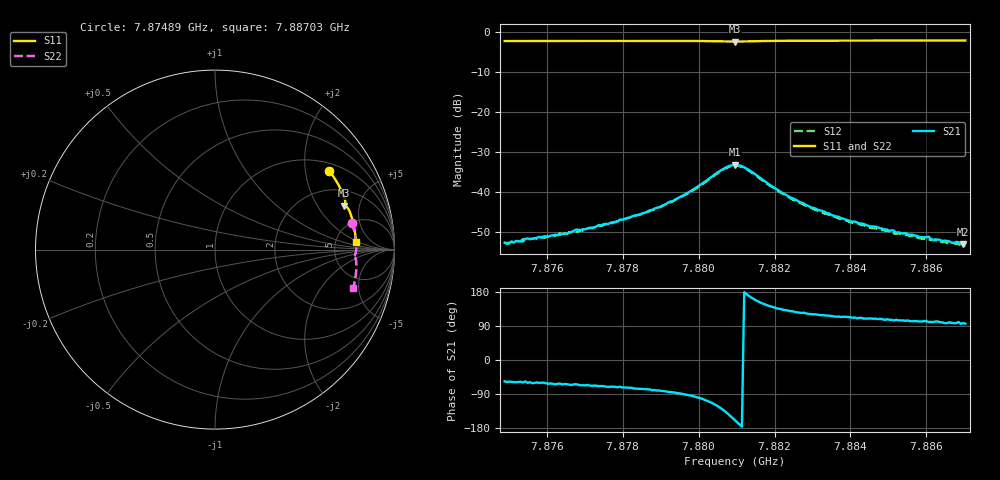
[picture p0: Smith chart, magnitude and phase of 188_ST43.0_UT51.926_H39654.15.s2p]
#  HZ  S  DB  R  50.00
! Rohde & Schwarz Vector Network Analyzer
! Rohde-Schwarz,ZNB20-2Port,1311601062101988,3.16
! Created: UTC 1/12/2023, 6:43:21 PM
! freq[Hz]  db:S11  ang:S11  db:S21  ang:S21  db:S12  ang:S12  db:S22  ang:S22
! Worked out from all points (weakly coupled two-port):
!   201 points, 7.87489 GHz to 7.88703 GHz, reference 50 ohm
!   highest |S21| = -33.17 dB at 7.88096 GHz (marker M1); lowest = -53.1 dB at 7.88696 GHz (marker M2)
!   lowest |S11| = -2.4 dB at 7.88096 GHz (marker M3), VSWR 7.38, Z = 152 + j178 ohm
!   |S11| at or under -10 dB: nowhere
!   |S22| runs from -2.3 to -1.9 dB; largest |S21 - S12| = 0.0014
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7.874894e9  -2.24 34.8  -52.64 -56.3  -52.76 -59.4  -2.18 10.9
7.87538e9  -2.23 33.4  -52.34 -59.3  -51.80 -61.1  -2.17 9.7
7.875501e9  -2.23 33.1  -51.60 -60.3  -51.93 -63.1  -2.16 9.4
7.87635e9  -2.21 30.8  -50.71 -62.2  -50.29 -67.0  -2.13 7.4
7.876532e9  -2.21 30.3  -50.29 -63.6  -50.49 -66.5  -2.13 7.0
7.876957e9  -2.20 29.2  -49.27 -66.5  -49.63 -70.6  -2.12 6.0
7.877866e9  -2.19 26.6  -47.35 -71.7  -47.27 -74.8  -2.09 3.9
7.878958e9  -2.18 23.6  -43.78 -80.4  -43.87 -84.5  -2.08 1.3
7.879868e9  -2.21 20.9  -39.28 -95.6  -39.51 -99.7  -2.10 -1.0
7.880657e9  -2.33 18.9  -34.17 -132.4  -34.32 -135.8  -2.21 -2.7
7.88096e9  -2.37 18.8  -33.17 -159.1  -33.40 -162.5  -2.27 -2.8
7.881263e9  -2.32 18.5  -34.13 174.0  -34.28 170.5  -2.22 -2.8
7.882294e9  -2.16 15.8  -40.64 131.7  -40.92 127.6  -2.05 -5.0
7.883022e9  -2.13 13.8  -43.94 120.5  -44.18 117.4  -2.01 -6.8
7.883992e9  -2.12 11.2  -47.29 112.9  -47.52 108.9  -1.98 -9.0
7.885024e9  -2.10 8.5  -49.71 106.2  -49.84 103.1  -1.97 -11.3
7.885812e9  -2.09 6.4  -51.20 101.8  -51.55 99.9  -1.96 -13.0
7.886055e9  -2.09 5.8  -51.11 100.2  -51.74 97.9  -1.95 -13.5
7.886176e9  -2.09 5.4  -51.98 100.2  -52.02 96.3  -1.95 -13.8
7.886843e9  -2.09 3.7  -52.49 100.2  -52.99 95.6  -1.94 -15.3
7.886965e9  -2.08 3.4  -53.09 97.7  -53.51 93.3  -1.94 -15.5
7.887025e9  -2.08 3.2  -52.78 95.6  -53.38 93.4  -1.94 -15.6
